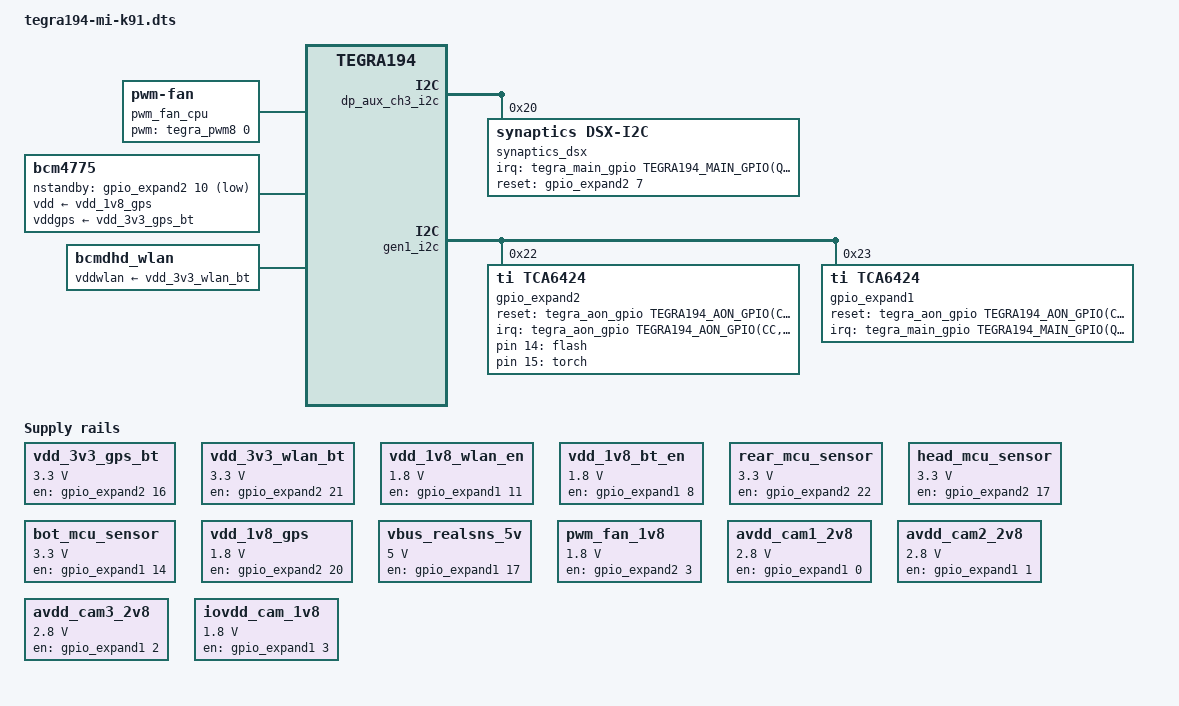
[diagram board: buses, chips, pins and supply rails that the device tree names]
/*
 *
 * Copyright (c) 2021 Beijing Xiaomi Mobile Software Co., Ltd. All rights reserved.
 *
 * This program is free software; you can redistribute it and/or modify
 * it under the terms of the GNU General Public License as published by
 * the Free Software Foundation; version 2 of the License.
 *
 * This program is distributed in the hope that it will be useful, but WITHOUT
 * ANY WARRANTY; without even the implied warranty of MERCHANTABILITY or
 * FITNESS FOR A PARTICULAR PURPOSE.  See the GNU General Public License for
 * more details.
 */

/dts-v1/;
/* Based on tegra194-p3668-all-p3509-0000.dts */

#include "common/tegra194-p3668-common.dtsi"
#include "common/tegra194-p3509-0000-a00.dtsi"
#include "tegra194-mi-k91-camera.dtsi"
#include "tegra194-mi-k91-audio.dtsi"

/*+++root node start+++*/
/ {
	nvidia,dtsfilename = __FILE__;
	nvidia,dtbbuildtime = __DATE__, __TIME__;

	compatible = "nvidia,p3449-0000+p3668-0000", "nvidia,p3449-0000+p3668-0001", "nvidia,p3509-0000+p3668-0000", "nvidia,p3509-0000+p3668-0001", "nvidia,tegra194";

	pcie@141a0000 {
		nvidia,disable-aspm-states = <0x0>;
		/delete-property/ nvidia,disable-clock-request;
		nvidia,dvfs-tbl = < 204000000 204000000 204000000 204000000
		 204000000 204000000 204000000 204000000
		 204000000 204000000 204000000 204000000
		 204000000 204000000 204000000 204000000 >;
	};

	fixed-regulators {
		vdd_3v3_gps_bt: reulator@21 {
			compatible = "regulator-fixed";
			reg = <21>;
			regulator-name = "vdd-3v3-gps-bt";
			regulator-min-microvolt = <3300000>;
			regulator-max-microvolt = <3300000>;
			gpio = <&gpio_expand2 16 GPIO_ACTIVE_LOW>;
			enable-active-high;
		};

		vdd_3v3_wlan_bt: reulator@35 {
			compatible = "regulator-fixed";
			reg = <35>;
			regulator-name = "vdd-3v3-wlan-bt";
			regulator-min-microvolt = <3300000>;
			regulator-max-microvolt = <3300000>;
			gpio = <&gpio_expand2 21 GPIO_ACTIVE_LOW>;
			startup-delay-us = <20000>;
			regulator-always-on;
			regulator-boot-on;
			enable-active-high;
		};
		
		vdd_1v8_wlan_en: reulator@36 {
			compatible = "regulator-fixed";
			reg = <36>;
			regulator-name = "vdd-1v8-wlan-en";
			regulator-min-microvolt = <1800000>;
			regulator-max-microvolt = <1800000>;
			gpio = <&gpio_expand1 11  GPIO_ACTIVE_LOW>;
			startup-delay-us = <20000>;
			regulator-always-on;
			regulator-boot-on;
			enable-active-high;
		};
		
		vdd_1v8_bt_en: reulator@37 {
			compatible = "regulator-fixed";
			reg = <37>;
			regulator-name = "vdd-1v8-bt-en";
			regulator-min-microvolt = <1800000>;
			regulator-max-microvolt = <1800000>;
			gpio = <&gpio_expand1 8 GPIO_ACTIVE_LOW>;
			startup-delay-us = <20000>;
			regulator-always-on;
			regulator-boot-on;
			enable-active-high;
		};

		rear_mcu_sensor: reulator@25 {
			compatible = "regulator-fixed";
			reg = <25>;
			regulator-always-on;
			regulator-name = "rear-mcu-sensor";
			regulator-min-microvolt = <3300000>;
			regulator-max-microvolt = <3300000>;
			gpio = <&gpio_expand2 22 GPIO_ACTIVE_LOW>;
			enable-active-high;
			regulator-boot-on;
		};
		head_mcu_sensor: reulator@26 {
			compatible = "regulator-fixed";
			reg = <26>;
			regulator-always-on;
			regulator-name = "head-mcu-sensor";
			regulator-min-microvolt = <3300000>;
			regulator-max-microvolt = <3300000>;
			gpio = <&gpio_expand2 17 GPIO_ACTIVE_LOW>;
			enable-active-high;
			regulator-boot-on;
		};

		bot_mcu_sensor: reulator@29 {
			compatible = "regulator-fixed";
			reg = <29>;
			regulator-always-on;
			regulator-name = "bot-mcu-sensor";
			regulator-min-microvolt = <3300000>;
			regulator-max-microvolt = <3300000>;
			gpio = <&gpio_expand1 14 GPIO_ACTIVE_LOW>;
			enable-active-high;
			regulator-boot-on;
		};

		vdd_1v8_gps: reulator@22 {
			compatible = "regulator-fixed";
			reg = <22>;
			regulator-name = "vdd-1v8-gps";
			regulator-min-microvolt = <1800000>;
			regulator-max-microvolt = <1800000>;
			gpio = <&gpio_expand2 20 GPIO_ACTIVE_LOW>;
			enable-active-high;
		};

		vbus_realsns_5v: reulator@28 {
			compatible = "regulator-fixed";
			reg = <28>;
			regulator-always-on;
			regulator-name = "vbus_realsns-5v";
			regulator-min-microvolt = <5000000>;
			regulator-max-microvolt = <5000000>;
			gpio = <&gpio_expand1 17 GPIO_ACTIVE_HIGH>;
			enable-active-high;
			regulator-boot-on;
		};

		pwm_fan_1v8: regulator@30 {
			compatible = "regulator-fixed";
			reg = <30>;
			regulator-always-on;
			regulator-name = "vdd-1v8-fan";
			regulator-min-microvolt = <1800000>;
			regulator-max-microvolt = <1800000>;
			gpio = <&gpio_expand2 3 GPIO_ACTIVE_HIGH>;
			enable-active-high;
			regulator-boot-on;
		};

		avdd_cam1_2v8: regulator@41 {
			compatible = "regulator-fixed";
			reg= <41>;
			regulator-name = "avdd-cam1-2v8";
			regulator-min-microvolt = <2800000>;
			regulator-max-microvolt = <2800000>;
			gpio = <&gpio_expand1 0 GPIO_ACTIVE_HIGH>;
			enable-active-high;
		};

		avdd_cam2_2v8: regulator@42 {
			compatible = "regulator-fixed";
			reg= <42>;
			regulator-name = "avdd-cam2-2v8";
			regulator-min-microvolt = <2800000>;
			regulator-max-microvolt = <2800000>;
			gpio = <&gpio_expand1 1 GPIO_ACTIVE_HIGH>;
			enable-active-high;
		};

		avdd_cam3_2v8: regulator@43 {
			compatible = "regulator-fixed";
			reg= <43>;
			regulator-name = "avdd-cam3-2v8";
			regulator-min-microvolt = <2800000>;
			regulator-max-microvolt = <2800000>;
			gpio = <&gpio_expand1 2 GPIO_ACTIVE_HIGH>;
			enable-active-high;
		};

		iovdd_cam_1v8: regulator@44{
			compatible = "regulator-fixed";
			reg= <44>;
			regulator-name = "iovdd-cam-1v8";
			regulator-min-microvolt = <1800000>;
			regulator-max-microvolt = <1800000>;
			gpio = <&gpio_expand1 3 GPIO_ACTIVE_HIGH>;
			enable-active-high;
		};
	};

	pwm-fan {
		pwms = <&tegra_pwm6 0 45334>;
		profiles {
			default = "quiet";
				quiet {
					state_cap = <4>;
					active_pwm = <0 80 160 200 255 255 255 255 255 255>;
				};
				cool {
					state_cap = <4>;
					active_pwm = <0 130 170 200 255 255 255 255 255 255>;
				};
			};
	};

	pwm_fan_cpu_shared_data: pfsd_cpu {
		num_resources = <0>;
		secret = <47>;
		active_steps = <10>;
		active_rpm = <0 1000 2000 3000 4000 5000 6000 7000 10000 11000>;
		rpm_diff_tolerance = <2>;
		active_rru = <40 2 1 1 1 1 1 1 1 1>;
		active_rrd = <40 2 1 1 1 1 1 1 1 1>;
		state_cap_lookup = <2 2 2 2 3 3 3 4 4 4>;
		pwm_period = <45334>;
		pwm_id = <8>;
		pwm_polarity = <PWM_POLARITY_INVERTED>;
		suspend_state = <1>;
		step_time = <100>; /* mesecs */
		state_cap = <7>;
		active_pwm_max = <256>;
		tach_period = <1000>;
		pwm_gpio = <&tegra_main_gpio TEGRA194_MAIN_GPIO(R, 0) GPIO_ACTIVE_LOW>;
	};

	pwm_fan_cpu: pwm-fan-cpu {
		compatible = "pwm-fan";
		status = "okay";
		#pwm-cells = <1>;
		pwms = <&tegra_pwm8 0 45334>;
		shared_data = <&pwm_fan_cpu_shared_data>;
		suspend_state = <0>;
		profiles {
			default = "quiet";
			quiet {
				state_cap = <4>;
				active_pwm = <0 77 120 160 255 255 255 255 255 255>;
			};
			cool {
				state_cap = <4>;
				active_pwm = <0 77 120 160 255 255 255 255 255 255>;
			};
		};
	};

	bcm4775 {
		compatible = "bcm4775";
		vdd-supply = <&vdd_1v8_gps>;
                vddgps-supply = <&vdd_3v3_gps_bt>;
		//gps-1v8-gpio = <&gpio_expand2 20 GPIO_ACTIVE_LOW>;
		//gps-bt-3v3-gpio = <&gpio_expand2 21 GPIO_ACTIVE_LOW>;
		nstandby-gpio = <&gpio_expand2 10 GPIO_ACTIVE_LOW>;
		//bt-en-gpio = <&gpio_expand1 8 GPIO_ACTIVE_LOW>;
		//wlan-en-gpio = <&gpio_expand1 11 GPIO_ACTIVE_LOW>;
	};

	bcmdhd_wlan {
		compatible = "bcmdhd_wlan";
		vddwlan-supply = <&vdd_3v3_wlan_bt>;
		//bt-en-gpio = <&gpio_expand1 8 GPIO_ACTIVE_LOW>;
		//wlan-en-gpio = <&gpio_expand1 11 GPIO_ACTIVE_LOW>;
	};

	leds {
		flash {
			gpios = <&gpio_expand2 14 GPIO_ACTIVE_HIGH>;
			default-state = "off";
		};

		torch {
			gpios = <&gpio_expand2 15 GPIO_ACTIVE_HIGH>;
			default-state = "off";
		};
	};
};
/*+++root node end+++*/


&dp_aux_ch3_i2c {
	status = "okay";
       synaptics_dsx@20 {
               compatible = "synaptics,dsx-i2c";
               reg = <0x20>;
               status = "okay";
               interrupt-parent = <&tegra_main_gpio>;
               interrupts = <TEGRA194_MAIN_GPIO(Q, 3)  0x2002>;
               synaptics,ub-i2c-addr = <0x2c>;
               synaptics,irq-gpio = <&tegra_main_gpio TEGRA194_MAIN_GPIO(Q, 3) 0x2008>; // IRQF_ONESHOT|IRQF_TRIGGER_LOW
               synaptics,reset-gpio = <&gpio_expand2 7 0x00>;
               synaptics,irq-on-state = <0>;
               synaptics,power-delay-ms = <200>;
               synaptics,reset-delay-ms = <200>;
               synaptics,reset-on-state = <0>;
               synaptics,reset-active-ms = <20>;
               // uncomment and update line below as appropriate if there are 0D buttons
               synaptics,cap-button-codes = <102 158>;// use in debug, should be comment in final release!!!!
               // uncomment and update lines below as appropriate if there are virtual buttons
               // synaptics,vir-button-codes = <102 100 900 100 60 158 300 900 100 60>;
               // synaptics,max-y-for-2d = <800>;
       };
};

&gen1_i2c {
	status = "okay";

	gpio_expand2: tca6424@22 {
		compatible = "ti,tca6424";
		reg = <0x22>;
		reset-gpio = <&tegra_aon_gpio TEGRA194_AON_GPIO(CC, 3) GPIO_ACTIVE_HIGH>;
		gpio-controller;
		#gpio-cells = <2>;
		status = "okay";
		interrupt-parent = <&tegra_aon_gpio>;
		interrupts = <TEGRA194_AON_GPIO(CC, 4) IRQ_TYPE_LEVEL_LOW>;
		interrupt-controller;
		#interrupt-cells = <2>;
		gpio-line-names =
			"PROG_UTRA_F",   "Null",          "RSTN_UTRA_F",          "PROG_UTRA_R",
			"RSTN_HUB",      "RSTN_UTRA_R",   "INT_TP",               "RST_TP",
			"LED_DRIVER_EN", "Null",          "GNSS_EN",              "H_HOST_REQ",
			"MCU_RDY_GPS",   "MCU_REQ_GPS",   "ENF_FLASHLED",         "ENM_FLASHLED",
			"INT1_Gyro",     "INT1_ACC",      "CODEC_PA_DVDD_1V8_EN", "CODEC_AVDD_1V8_EN",
			"GPS_1V8_EN",    "GPS_BT_3V3_EN", "SENSOR_3V3_EN",        "SENSOR_1V8_EN";
		init-gpios {
			gpio-hog;
			output-high;
			gpios = <0 0
				1 0
				2 0
				3 0
				4 0
				5 0
				6 0
				7 0
				8 0
				9 0
				10 0
				11 0
				12 0
				13 0
				14 0
				15 0
				16 0
				17 0
				18 0
				19 0
				20 0
				21 0
				22 0
				23 0>;
			status = "disabled";
		};
	};

	gpio_expand1: tca6424@23 {
			compatible = "ti,tca6424";
			reg = <0x23>;
			reset-gpio = <&tegra_aon_gpio TEGRA194_AON_GPIO(CC, 3) GPIO_ACTIVE_HIGH>;
			gpio-controller;
			#gpio-cells = <2>;
			interrupt-parent = <&tegra_main_gpio>;
			interrupts = <TEGRA194_MAIN_GPIO(Q, 1) IRQ_TYPE_LEVEL_LOW>;
			interrupt-controller;
			#interrupt-cells = <2>;
			status = "okay";
			gpio-line-names =
				"Null",           "CAM_AVDD_EN",       "CAM_DVDD_EN",       "CAM_IOVDD_EN",
				"SEL1_MODE",      "RESET_CODEC",       "LDO1_EN_CODEC",     "PWDN_PA",
				"BT_EN",          "HOST_WAKE_BT",      "BT_WAKE_HOST",      "WLAN_EN",
				"WLAN_WAKE_HOST", "GUANGLIUJI_2V8_EN", "GUANGLIUJI_1V5_EN", "INT_TUSB322",
				"VBUS_MOTION_EN", "VBUS_REALSNS_EN",   "Null",              "STROBE_CAM3",
				"XSHUTDOWN_3",    "TOF_EN",            "STROBE_CAM2",       "TOF_GPIO1";
			init-gpios {
							gpio-hog;
							output-high;
							gpios = <0 0
					1 0
					2 0
					3 0
					4 0
					5 0
					6 0
					7 0
					8 0
					9 0
					10 0
					12 0
					13 0
					14 0
					15 0
					16 0
					17 0
					18 0
					19 0
					20 0
					21 0
					22 0
					23 0>;
							status = "disabled";
			};
			wifi-bt-en {
				gpio-hog;
				output-low;
				gpios = <11 0
					8 0>;
				status = "okay";
			};
			bt-wake {
				gpio-hog;
				output-low;
				gpios = <10 0>;
				status = "okay";
			};
			wifi-wake {
				gpio-hog;
				input;
				gpios = <12 0>;
				status = "disabled";
			};
		};

};

&pwm_fan_shared_data {
	tach_gpio = <&tegra_main_gpio TEGRA194_MAIN_GPIO(Q, 2) GPIO_ACTIVE_LOW>;
	pwm_gpio = <&tegra_main_gpio TEGRA194_MAIN_GPIO(H, 1) GPIO_ACTIVE_LOW>;
	pwm_polarity = <PWM_POLARITY_INVERTED>;
	pwm_id = <6>;
	suspend_state = <1>;
};

&xusb_padctl {
	pads {
		usb2 {
			lanes {
				usb2-0 {
					nvidia,hs_curr_level_offset = <12>;
				};
			};
		};
	};
};
